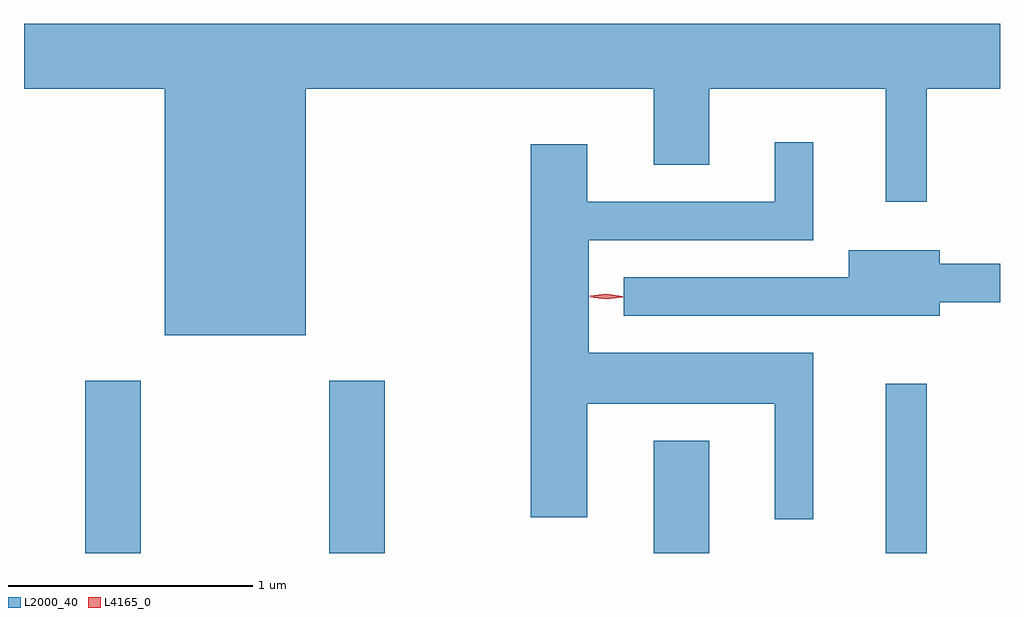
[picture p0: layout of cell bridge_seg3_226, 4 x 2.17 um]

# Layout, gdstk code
import gdstk
lib = gdstk.Library(unit=1e-6, precision=1e-09)
def R(c, l, rs):  # rectangles x0, y0, x1, y1
    for r in rs: c.add(gdstk.rectangle(r[:2], r[2:], *l))
def P(c, l, *ps):  # polygons
    for p in ps: c.add(gdstk.Polygon(p, *l))
L2000_40 = (2000, 40)
L4165_0 = (4165, 0)

bridge_seg3_226 = lib.new_cell('bridge_seg3_226')
R(bridge_seg3_226, L2000_40, [(942.001,1141.872,942.229,1142.579), (943.001,1141.872,943.229,1142.579), (944.331,1141.872,944.559,1142.334), (945.281,1141.872,945.449,1142.568)])
P(bridge_seg3_226, L2000_40, [(942.904,1143.776),(944.331,1143.776),(944.331,1143.466),(944.559,1143.466),(944.559,1143.776),(945.281,1143.776),(945.281,1143.313),(945.449,1143.313),(945.449,1143.776),(945.75,1143.776),(945.75,1144.044),(941.75,1144.044),(941.75,1143.776),(942.326,1143.776),(942.326,1142.766),(942.904,1142.766)],
  [(944.984,1142.694),(944.064,1142.694),(944.064,1143.156),(944.984,1143.156),(944.984,1143.558),(944.826,1143.558),(944.826,1143.314),(944.059,1143.314),(944.059,1143.549),(943.826,1143.549),(943.826,1142.021),(944.059,1142.021),(944.059,1142.486),(944.826,1142.486),(944.826,1142.013),(944.984,1142.013)],
  [(945.504,1142.901),(945.75,1142.901),(945.75,1143.059),(945.504,1143.059),(945.504,1143.114),(945.131,1143.114),(945.131,1143.004),(944.208,1143.004),(944.208,1142.846),(945.504,1142.846)])
P(bridge_seg3_226, L4165_0, [(944.137,1142.913),(944.068,1142.922),(944.067,1142.923),(944.068,1142.923),(944.137,1142.933),(944.206,1142.923),(944.206,1142.923),(944.206,1142.922)],
  [(944.136,1142.916),(944.071,1142.927),(944.07,1142.927),(944.071,1142.928),(944.137,1142.936),(944.202,1142.926),(944.203,1142.925),(944.202,1142.924)])

lib.write_gds('bridge_seg3_226.gds')
